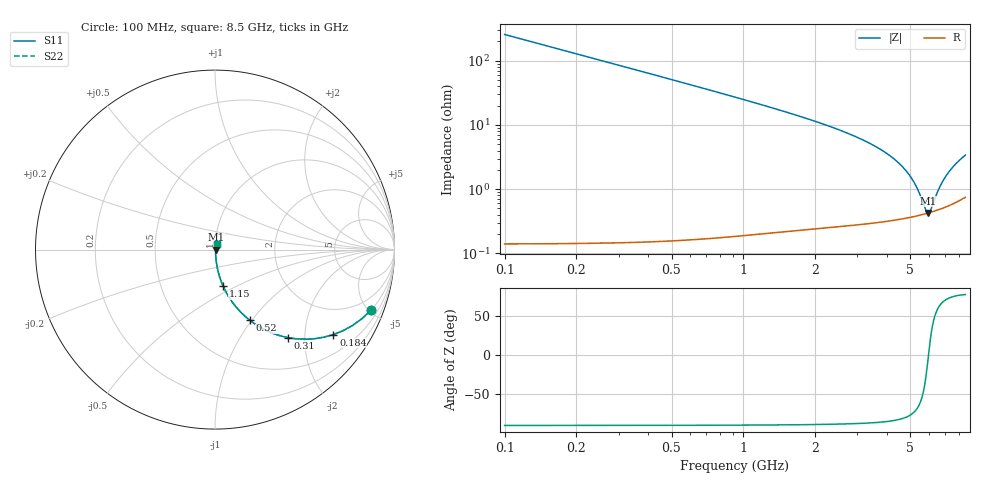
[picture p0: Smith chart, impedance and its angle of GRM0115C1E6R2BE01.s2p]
!Murata Part Number: GRM0115C1E6R2BE01
!These Parameters are Measured in Series Mode Connection
!Data Generated on Mar 30, 2021
!  o--ll--o
!Port1  Port2
!  o------o
!Operation Temp=25[degC], DC Bias Voltage=0[V]
!Freq. Start=100[MHz] Stop=9[GHz] 401[Steps]
# Hz S RI R 50
!Freq.(Hz) S11(Real) S11(Imag) S21(Real) S21(Imag) S12(Real) S12(Imag) S22(Real) S22(Imag)
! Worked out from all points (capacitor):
!   401 points, 100 MHz to 8.5 GHz, reference 50 ohm
!   read as one part in series: C = 6.2 pF near 142 MHz
!   lowest |Z| = 426 mohm at 5.938 GHz (marker M1)
!   series resonance near 5.955 GHz, so ESL is about 120 pH
!   S11 on the Smith chart (normalised r, x): 100 MHz: 1.00, -5.13; 184 MHz: 1.00, -2.79; 310 MHz: 1.00, -1.65; 520 MHz: 1.00, -0.98; 1.15 GHz: 1.00, -0.43; 8.5 GHz: 1.01, +0.07
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1e8  0.868 -0.3382  0.132 0.3382  0.132 0.3382  0.868 -0.3382
1.84e8  0.66 -0.4732  0.34 0.4732  0.34 0.4732  0.66 -0.4732
2.47e8  0.5183 -0.499  0.4817 0.499  0.4817 0.499  0.5183 -0.499
3.1e8  0.4055 -0.4901  0.5945 0.4901  0.5945 0.4901  0.4055 -0.4901
4.15e8  0.2751 -0.4453  0.7249 0.4453  0.7249 0.4453  0.2751 -0.4453
5.2e8  0.1941 -0.3939  0.8059 0.3939  0.8059 0.3939  0.1941 -0.3939
7.72e8  0.0976 -0.2942  0.9024 0.2942  0.9024 0.2942  0.0976 -0.2942
1.15e9  0.0457 -0.2043  0.9543 0.2043  0.9543 0.2043  0.0457 -0.2043
1.507e9  0.0267 -0.1546  0.9733 0.1546  0.9733 0.1546  0.0267 -0.1546
2.914e9  0.00719 -0.0664  0.9928 0.0664  0.9928 0.0664  0.00719 -0.0664
4.3e9  0.0041 -0.0286  0.9959 0.0286  0.9959 0.0286  0.0041 -0.0286
4.741e9  0.00389 -0.0199  0.9961 0.0199  0.9961 0.0199  0.00389 -0.0199
5.098e9  0.00387 -0.0136  0.9961 0.0136  0.9961 0.0136  0.00387 -0.0136
5.392e9  0.00394 -0.00866  0.9961 0.00866  0.9961 0.00866  0.00394 -0.00866
5.707e9  0.00408 -0.00372  0.9959 0.00372  0.9959 0.00372  0.00408 -0.00372
5.833e9  0.00416 -0.00181  0.9958 0.00181  0.9958 0.00181  0.00416 -0.00181
5.938e9  0.00424 -0.000253  0.9958 0.000253  0.9958 0.000253  0.00424 -0.000253
6.085e9  0.00435 0.00189  0.9956 -0.00189  0.9956 -0.00189  0.00435 0.00189
6.631e9  0.00492 0.00948  0.9951 -0.00948  0.9951 -0.00948  0.00492 0.00948
7.114e9  0.00559 0.0158  0.9944 -0.0158  0.9944 -0.0158  0.00559 0.0158
7.744e9  0.00672 0.0237  0.9933 -0.0237  0.9933 -0.0237  0.00672 0.0237
8.5e9  0.00851 0.0326  0.9915 -0.0326  0.9915 -0.0326  0.00851 0.0326
